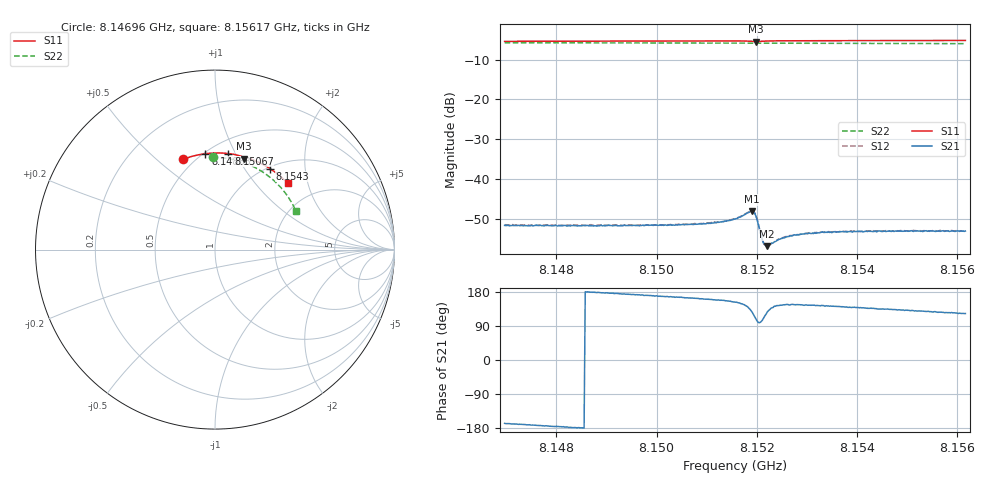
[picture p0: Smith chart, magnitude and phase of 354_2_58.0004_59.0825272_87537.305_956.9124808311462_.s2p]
#  HZ  S  RI  R  50.00
! Rohde & Schwarz Vector Network Analyzer
! Rohde-Schwarz,ZNB20-2Port,1311601062101988,3.16
! Created: UTC 3/21/2024, 1:06:08 AM
! freq[Hz]  re:S11  im:S11  re:S21  im:S21  re:S12  im:S12  re:S22  im:S22
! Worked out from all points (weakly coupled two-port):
!   401 points, 8.14696 GHz to 8.15617 GHz, reference 50 ohm
!   highest |S21| = -48.01 dB at 8.15191 GHz (marker M1); lowest = -56.8 dB at 8.15221 GHz (marker M2)
!   lowest |S11| = -5.5 dB at 8.15198 GHz (marker M3), VSWR 3.26, Z = 37.3 + j52.5 ohm
!   |S11| at or under -10 dB: nowhere
!   |S22| runs from -6.0 to -5.8 dB; largest |S21 - S12| = 0.00011
!   S11 on the Smith chart (normalised r, x): 8.14696 GHz: 0.44, +0.61; 8.14883 GHz: 0.51, +0.77; 8.15067 GHz: 0.62, +0.94; 8.1543 GHz: 1.02, +1.32; 8.15617 GHz: 1.42, +1.50
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8.146965e9  -0.1796 0.5025  -0.00258 -0.000587  -0.00263 -0.000538  -0.0126 0.5133
8.148506e9  -0.076 0.5311  -0.00262 -5.43e-05  -0.00266 4.42e-05  0.0875 0.5043
8.148828e9  -0.0538 0.5343  -0.00261 6.26e-05  -0.00266 0.00012  0.1079 0.4999
8.150047e9  0.031 0.5382  -0.00259 0.000543  -0.00261 0.000554  0.1829 0.4758
8.150668e9  0.0742 0.5349  -0.00261 0.000761  -0.00264 0.000807  0.219 0.4592
8.151243e9  0.1144 0.5286  -0.00269 0.00106  -0.00266 0.00113  0.2512 0.4414
8.151565e9  0.1373 0.523  -0.00281 0.00146  -0.00281 0.00153  0.2688 0.4303
8.151841e9  0.1571 0.5132  -0.0028 0.00265  -0.0028 0.00269  0.2833 0.4202
8.15191e9  0.1598 0.5086  -0.00231 0.00323  -0.00231 0.00331  0.2867 0.4176
8.151956e9  0.1596 0.506  -0.00156 0.00346  -0.00153 0.00349  0.2889 0.4158
8.151979e9  0.159 0.5058  -0.00114 0.00331  -0.0011 0.00338  0.29 0.4149
8.152025e9  0.1586 0.507  -0.000481 0.00277  -0.000477 0.00283  0.2921 0.4135
8.152117e9  0.1634 0.5107  -0.000476 0.00163  -0.000423 0.00165  0.297 0.4101
8.152163e9  0.1673 0.5114  -0.000678 0.00134  -0.000655 0.00135  0.2992 0.4084
8.152209e9  0.1709 0.5114  -0.000865 0.00117  -0.00088 0.00121  0.3017 0.4066
8.152439e9  0.1885 0.508  -0.00142 0.00105  -0.00144 0.00106  0.3131 0.3976
8.152623e9  0.2013 0.5038  -0.0016 0.00106  -0.00158 0.00111  0.3219 0.3899
8.153106e9  0.2332 0.4911  -0.00172 0.00121  -0.00171 0.00126  0.3444 0.3693
8.153589e9  0.2635 0.4763  -0.00172 0.00136  -0.00169 0.00139  0.3655 0.3473
8.154302e9  0.3061 0.4515  -0.0016 0.00154  -0.00159 0.00157  0.3939 0.3127
8.154647e9  0.3258 0.438  -0.00155 0.00162  -0.00155 0.00164  0.4065 0.2951
8.156165e9  0.4045 0.3695  -0.00121 0.00189  -0.00122 0.00192  0.4521 0.2125
